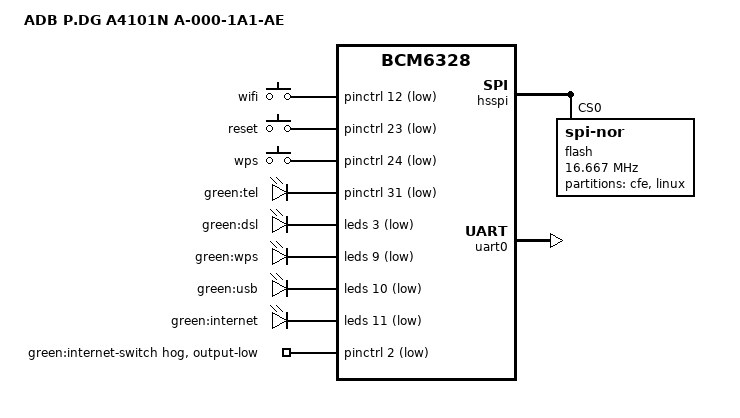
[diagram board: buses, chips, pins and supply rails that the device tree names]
// SPDX-License-Identifier: GPL-2.0-or-later OR MIT

#include "bcm6328.dtsi"

#include <dt-bindings/input/input.h>

/ {
	model = "ADB P.DG A4101N A-000-1A1-AE";
	compatible = "adb,pdg-a4101n-a-000-1a1-ae", "brcm,bcm6328";

	aliases {
		led-boot = &led_dsl_green;
		led-failsafe = &led_dsl_green;
		led-upgrade = &led_dsl_green;
	};

	chosen {
		bootargs = "rootfstype=squashfs,jffs2 noinitrd console=ttyS0,115200";
		stdout-path = "serial0:115200n8";
	};

	keys {
		compatible = "gpio-keys-polled";
		#address-cells = <1>;
		#size-cells = <0>;
		poll-interval = <20>;

		wifi {
			label = "wifi";
			gpios = <&pinctrl 12 1>;
			linux,code = <KEY_WLAN>;
			debounce-interval = <60>;
		};

		reset {
			label = "reset";
			gpios = <&pinctrl 23 1>;
			linux,code = <KEY_RESTART>;
			debounce-interval = <60>;
		};

		wps {
			label = "wps";
			gpios = <&pinctrl 24 1>;
			linux,code = <KEY_WPS_BUTTON>;
			debounce-interval = <60>;
		};
	};

	leds {
		compatible = "gpio-leds";

		led@31 {
			label = "green:tel";
			gpios = <&pinctrl 31 1>;
		};
	};
};

&leds {
	status = "okay";

	pinctrl-names = "default";
	pinctrl-0 = <&pinctrl_leds>;

	led_dsl_green: led@3 {
		reg = <3>;
		active-low;
		label = "green:dsl";
	};

	led@9 {
		reg = <9>;
		active-low;
		label = "green:wps";
	};

	led@10 {
		reg = <10>;
		active-low;
		label = "green:usb";
	};

	led@11 {
		reg = <11>;
		active-low;
		label = "green:internet";
	};
};

&hsspi {
	status = "okay";

	flash@0 {
		compatible = "jedec,spi-nor";
		spi-max-frequency = <16666667>;
		spi-tx-bus-width = <2>;
		spi-rx-bus-width = <2>;
		reg = <0>;

		#address-cells = <1>;
		#size-cells = <1>;

		partitions {
			compatible = "fixed-partitions";
			#address-cells = <1>;
			#size-cells = <1>;

			partition@0 {
				reg = <0x000000 0x010000>;
				label = "cfe";
				read-only;
			};

			partition@10000 {
				reg = <0x010000 0xff0000>;
				label = "linux";
				compatible = "brcm,bcm963xx-imagetag";
			};
		};
	};
};

&pinctrl {
	pinctrl_leds: leds {
		function = "led";
		pins = "gpio3", "gpio9", "gpio10",
		       "gpio11";
	};

	green_internet_switch {
		gpio-hog;
		gpios = <2 1>;
		output-low;
		line-name = "green:internet-switch";
	};
};

&uart0 {
	status = "okay";
};
